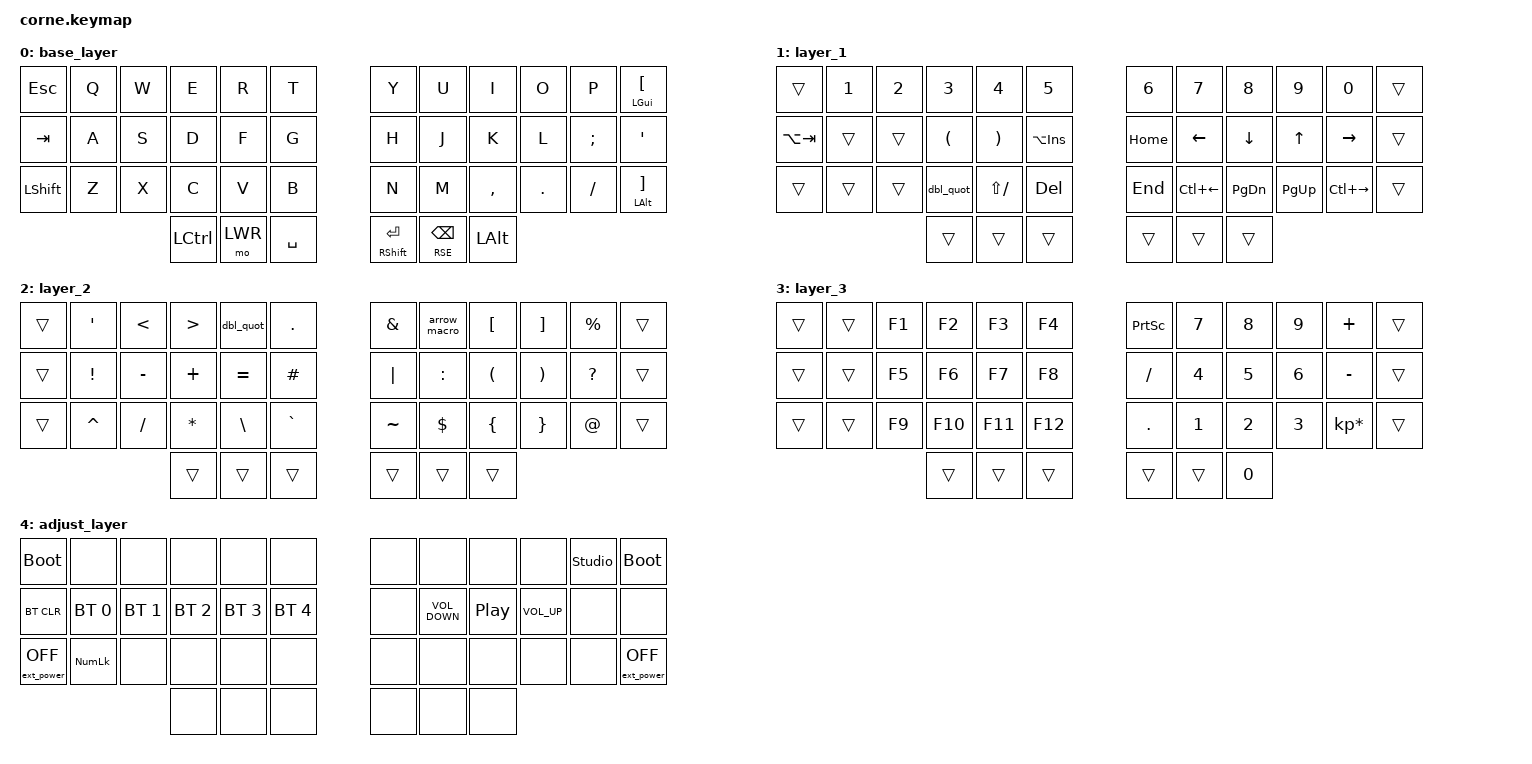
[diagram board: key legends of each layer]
/*
 * Copyright (c) 2020 The ZMK Contributors
 *
 * SPDX-License-Identifier: MIT
 */

#include <behaviors.dtsi>
#include <dt-bindings/zmk/keys.h>
#include <dt-bindings/zmk/bt.h>
#include <dt-bindings/zmk/ext_power.h>
#include <dt-bindings/zmk/rgb.h>

// Helper for UNICODE keymaps
#include "zmk-helpers/helper.h"

// Keys layout helper
#include "zmk-helpers/key-labels/42.h"

#define DEF 0
#define LWR 1
#define RSE 2
#define FUN 3
#define ADJ 4

#define QUEST 0x003F

// Unicode characters
ZMK_UNICODE_SINGLE(dbl_quot, N0, N0, N2, N2)


&led_strip {
  // chain-length = <0>;
  chain-length = <27>;
  // 21 backlight + 6 glowlight
};



&lt {
    quick_tap_ms = <120>;
};

&mt {
    quick_tap_ms = <120>;
};

/ {
    conditional_layers {
        compatible = "zmk,conditional-layers";
        tri_layer {
            if-layers = <LWR RSE>;
            then-layer = <FUN>;
        };
    };
};

/ {
    combos {
        compatible = "zmk,combos";
        combo_esc {
            timeout-ms = <30>;
            key-positions = <LH1 LH0>;
            bindings = <&mo ADJ>;
        };

        combo_dash {
            timeout-ms = <20>; // Adjust if needed
            key-positions = <RM1 RM2>; // J + K
            bindings = <&kp MINUS>;
        };

        combo_question {
            timeout-ms = <20>; // Adjust if needed
            key-positions = <RM0 RM1>; // H + J
            bindings = <&kp QMARK>;
        };
    };
};

/ {
    macros {
        arrow_macro: arrow_macro {
            compatible = "zmk,behavior-macro";
            #binding-cells = <0>;
            wait-ms = <0>;
            tap-ms = <10>;  // Small delay between characters
            bindings = <&kp EQUAL &kp GT>;  // Types "=" then ">"
        };
    };
};

/ {
    keymap {
        compatible = "zmk,keymap";

        base_layer {
            bindings = <
                        &kp ESC     &kp Q       &kp W       &kp E       &kp R       &kp T       &kp Y       &kp U       &kp I       &kp O       &kp P       &mt LGUI LBKT
                        &kp TAB     &kp A       &kp S       &kp D       &kp F       &kp G       &kp H       &kp J       &kp K       &kp L       &kp SEMI    &kp SQT
                        &kp LSHIFT  &kp Z       &kp X       &kp C       &kp V       &kp B       &kp N       &kp M       &kp COMMA   &kp DOT     &kp FSLH    &mt LALT RBKT
                                                                &kp LCTRL   &mo LWR  &kp SPACE &mt RSHIFT ENTER &lt RSE BSPC &kp LALT
            >;
        };

        layer_1 {
            bindings = <
                        &trans      &kp N1      &kp N2      &kp N3      &kp N4          &kp N5      &kp N6      &kp N7       &kp N8      &kp N9      &kp N0         &trans
                        &kp LA(TAB) &trans      &trans      &kp LPAR    &kp RPAR        &kp LA(INS) &kp HOME    &kp LEFT     &kp DOWN    &kp UP      &kp RIGHT      &trans
                        &trans      &trans      &trans      &dbl_quot   &kp LS(FSLH)    &kp DEL     &kp END     &kp LC(LEFT) &kp PG_DN   &kp PG_UP   &kp LC(RIGHT)  &trans
                                                                &trans      &trans      &trans      &trans      &trans         &trans
            >;
        };

        layer_2 {
            bindings = <
                        &trans      &kp APOS    &kp LT      &kp GT       &dbl_quot  &kp DOT     &kp AMPERSAND &arrow_macro &kp LBKT    &kp RBKT    &kp PERCENT &trans
                        &trans      &kp EXCL    &kp MINUS   &kp PLUS     &kp EQUAL  &kp HASH    &kp PIPE      &kp COLON    &kp LPAR    &kp RPAR    &kp QMARK   &trans
                        &trans      &kp CARET   &kp SLASH   &kp ASTRK    &kp BSLH   &kp GRAVE   &kp TILDE     &kp DOLLAR   &kp LBRC    &kp RBRC    &kp AT_SIGN &trans
                                                                &trans      &trans      &trans      &trans      &trans         &trans
            >;
        };

        layer_3 {
            bindings = <
                        &trans      &trans      &kp F1      &kp F2      &kp F3      &kp F4      &kp PSCRN   &kp N7      &kp N8      &kp N9     &kp PLUS          &trans
                        &trans      &trans      &kp F5      &kp F6      &kp F7      &kp F8      &kp SLASH   &kp N4      &kp N5      &kp N6     &kp MINUS         &trans
                        &trans      &trans      &kp F9      &kp F10     &kp F11     &kp F12     &kp DOT     &kp N1      &kp N2      &kp N3     &kp KP_MULTIPLY   &trans
                                                                &trans      &trans      &trans      &trans      &trans         &kp N0
            >;
        };

        adjust_layer {
            bindings = <
                        &bootloader           &none           &none        &none        &none        &none        &none        &none        &none        &none        &studio_unlock  &bootloader
                        &bt BT_CLR            &bt BT_SEL 0    &bt BT_SEL 1 &bt BT_SEL 2 &bt BT_SEL 3 &bt BT_SEL 4 &none        &kp C_VOLUME_DOWN &kp C_PLAY_PAUSE &kp C_VOLUME_UP &none           &none
                        &ext_power EP_OFF     &kp KP_NUM      &none        &none        &none        &none        &none        &none        &none        &none        &none           &ext_power EP_OFF
                                                                &none       &none           &none        &none        &none        &none
            >;
        };
    };
};


&pinctrl {
    pwm_default: pwm_default {
        group1 {
            psels = <NRF_PSEL(PWM_OUT0, 0, 8)>; // Replace with your actual LED pin
            nordic,invert;
        };
    };

    pwm_sleep: pwm_sleep {
        group1 {
            psels = <NRF_PSEL(PWM_OUT0, 0, 8)>; // Same pin as in default
            low-power-enable;
        };
    };
};

&pwm0 {
    status = "okay";
    pinctrl-0 = <&pwm_default>;
    pinctrl-1 = <&pwm_sleep>;
    pinctrl-names = "default", "sleep";
};

/ {
    pwmleds {
        compatible = "pwm-leds";
        
        pwm_backlight: pwm_backlight {
            pwms = <&pwm0 0 PWM_MSEC(20) PWM_POLARITY_NORMAL>;
            label = "Backlight";
        };
    };

    aliases {
        backlight = &pwm_backlight;
    };
};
